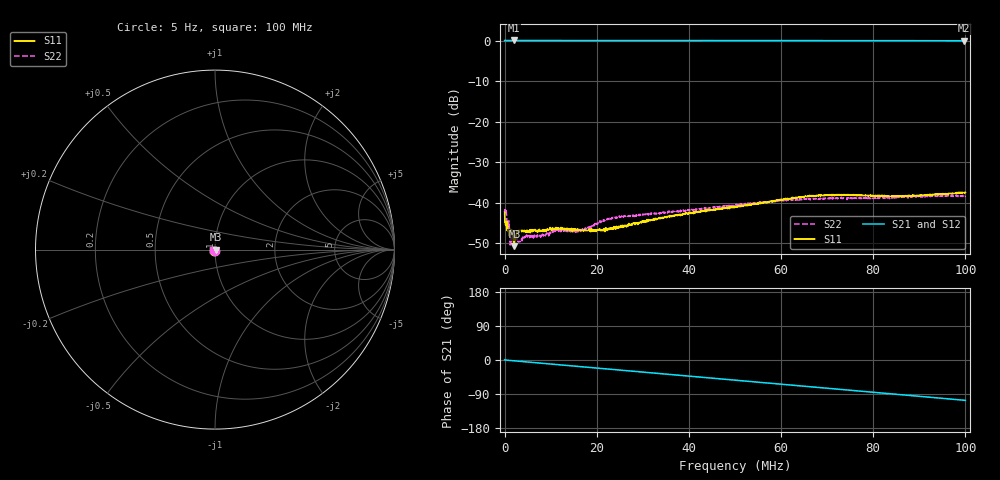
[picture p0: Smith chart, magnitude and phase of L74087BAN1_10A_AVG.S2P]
!Agilent Technologies,E5061B,MY49102235,A.02.00
!Date: Tue Jul 11 14:38:04 2023
!Data & Calibration Information:
!Freq	S11:SOLT2(ON)	S21:SOLT2(ON)	S12:SOLT2(ON)	S22:SOLT2(ON)
# Hz S RI R 50
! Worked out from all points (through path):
!   1600 points, 5 Hz to 100 MHz, reference 50 ohm
!   highest |S21| = 0.02 dB at 2.001 MHz (marker M1); lowest = -0.1 dB at 99.75 MHz (marker M2)
!   group delay of S21, straight-line fit = 2.96 ns
!   lowest |S11| = -50.7 dB at 2.126 MHz (marker M3), VSWR 1.01, Z = 50.3 - j0.0807 ohm
!   |S11| at or under -10 dB: start of sweep to end of sweep
!   |S22| runs from -50.4 to -38.1 dB; largest |S21 - S12| = 0.0028
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5  -0.00517 -0.00565  1.001 0.00779  1 0.0103  -0.00143 -0.00753
625395.8  0.00505 -1.81e-05  1.002 -0.0113  1.002 -0.0106  0.00608 -0.000401
1000630  0.00386 0.00025  1.001 -0.0176  1.001 -0.0171  0.00521 -0.000678
1500943  0.00445 -0.000983  1.002 -0.0267  1.001 -0.0263  0.00308 -0.00214
1688560  0.00396 -0.000995  1.001 -0.0312  1.001 -0.031  0.00367 -0.00183
2001256  0.00315 -0.000767  1.002 -0.0373  1.001 -0.0366  0.00327 -0.000481
2126334  0.0028 -0.000802  1.001 -0.0397  1 -0.0388  0.00393 -0.000207
2439029  0.00391 -0.000543  0.9998 -0.0457  0.9992 -0.045  0.00374 -6.57e-05
2939342  0.00439 -0.000611  0.9997 -0.0544  0.999 -0.0543  0.00331 -0.000238
3502194  0.00444 -0.000928  0.9989 -0.065  0.9985 -0.0644  0.00346 -0.000311
4627897  0.00433 -0.00105  0.9976 -0.0857  0.997 -0.085  0.00385 -0.000636
8255164  0.00344 -0.003  0.9896 -0.1528  0.9892 -0.1523  0.00322 -0.00251
1.11945e7  0.00236 -0.00401  0.9797 -0.2065  0.9794 -0.2058  0.00141 -0.00438
1.669794e7  0.00103 -0.00445  0.9531 -0.3052  0.9529 -0.3046  0.000677 -0.00447
2.320201e7  0.000997 -0.00465  0.9095 -0.4177  0.9093 -0.4173  0.00287 -0.00578
3.333334e7  -0.000531 -0.0064  0.8149 -0.5803  0.8148 -0.5796  0.000297 -0.00732
5.003127e7  -0.00302 -0.00829  0.5984 -0.8007  0.5984 -0.8001  -0.00377 -0.0085
6.672921e7  -0.00821 -0.00914  0.3246 -0.9438  0.325 -0.9434  -0.00758 -0.0081
7.235772e7  -0.00925 -0.00857  0.2242 -0.9718  0.2246 -0.9715  -0.00853 -0.00756
8.33646e7  -0.0102 -0.00645  0.022 -0.9961  0.0222 -0.9959  -0.00938 -0.00666
9.974984e7  -0.0126 -0.00452  -0.2779 -0.9543  -0.2773 -0.9542  -0.011 -0.00498
1e8  -0.0126 -0.00454  -0.2823 -0.9531  -0.2819 -0.953  -0.0112 -0.00478
